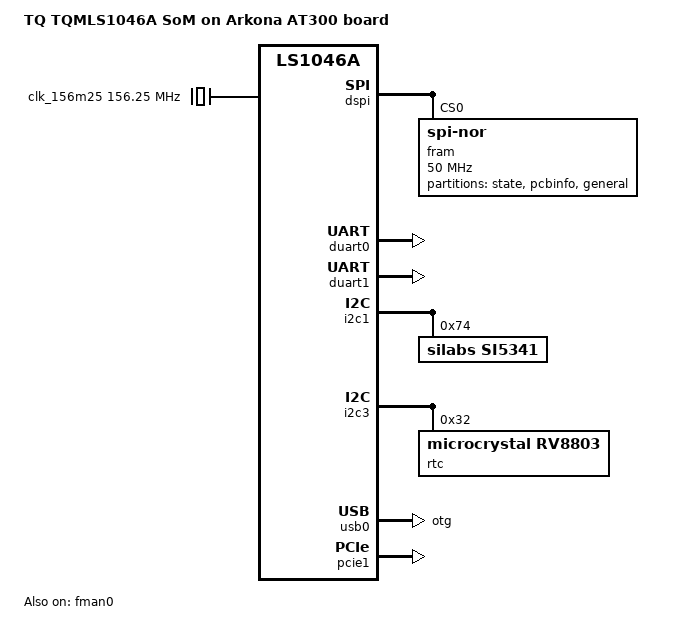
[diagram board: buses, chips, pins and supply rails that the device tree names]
// SPDX-License-Identifier: (GPL-2.0+ OR MIT)
/*
 * Device Tree Include file for TQMLS1046A SoM on MBLS10xxA from TQ
 *
 * Copyright 2018 TQ-Systems GmbH
 */

/dts-v1/;

#include <dt-bindings/input/input.h>
#include <dt-bindings/gpio/gpio.h>

#include <arm64/freescale/fsl-ls1046a-tqmls1046a.dtsi>
#include "fsl-ls1046a.dtsi"

/ {
	model = "TQ TQMLS1046A SoM on Arkona AT300 board";
	compatible = "arkona,at300", "tq,ls1046a-tqmls1046a", "fsl,ls1046a";

	barebox,deep-probe;

	aliases {
		serial0 = &duart0;
		serial1 = &duart1;
		mmc0 = &esdhc;
		qspiflash0 = &qflash0;
		qspiflash1 = &qflash1;
		state = &state;
	};

	chosen {
		stdout-path = "serial0:115200n8";

		environment-qspi {
			compatible = "barebox,environment";
			device-path = &environment_qspi;
			status = "disabled";
		};
	};

	clk_156m25: clk_156m25 {
		#clock-cells = <0>;
		compatible = "fixed-clock";
		clock-frequency = <156250000>;
	};

	state: state {
		magic = <0x52410a4b>;
		compatible = "barebox,state";
		backend-type = "raw";
		backend-storage-type = "direct";
		backend-stridesize = <0x80>;
		backend = <&state_part>;

		#address-cells = <1>;
		#size-cells = <1>;

		bootstate {
			#address-cells = <1>;
			#size-cells = <1>;

			system0 {
				#address-cells = <1>;
				#size-cells = <1>;

				remaining_attempts {
					reg = <0x0 0x4>;
					type = "uint32";
				};

				priority {
					reg = <0x4 0x4>;
					type = "uint32";
					default = <20>;
				};
			};

			system1 {
				#address-cells = <1>;
				#size-cells = <1>;

				remaining_attempts {
					reg = <0x10 0x4>;
					type = "uint32";
				};

				priority {
					reg = <0x14 0x4>;
					type = "uint32";
					default = <20>;
				};
			};

			last_chosen {
				reg = <0x20 0x04>;
				type = "uint32";
			};
		};

		fpga_prefix {
			reg = <0x30 0x30>;
			type = "string";
		};
	};
};

&dspi {
	status = "okay";
	fram@0 {
		compatible = "jedec,spi-nor";
		spi-max-frequency = <50000000>;
		reg = <0>;

		partitions {
			compatible = "fixed-partitions";
			#address-cells = <1>;
			#size-cells = <1>;

			state_part: partition@0 {
				label = "state";
				reg = <0x00000 0x00200>;
			};

			partition@200 {
				label = "pcbinfo";
				reg = <0x00200 0x00080>;
			};

			partition@280 {
				label = "general";
				reg = <0x00280 0x7fd80>;
			};
		};
	};
};

&duart0 {
	status = "okay";
};

&duart1 {
	status = "okay";
};

&gpio0 {
	gpio-line-names = "", "", "", "",
			  "", "", "", "",
			  "", "", "", "",
			  "", "", "", "",
			  "", "", "", "",
			  "", "", "", "",
			  "ps1_present", "ps2_present", "io_presentn", "io_pwr_goodn",
			  "module_slot_id2", "module_slot_id1", "module_slot_id0", "";
};

&gpio2 {
	gpio-line-names = "", "", "", "",
			  "", "", "", "",
			  "", "", "", "",
			  "", "", "", "",
			  "", "", "", "",
			  "", "", "", "",
			  "", "hsc_wpn", "", "usb_fifo_reset",
			  "", "", "", "";
};

&i2c1 {
	status = "okay";
	si5341: clock-generator@74 {
		compatible = "silabs,si5341";
		reg = <0x74>;
		#clock-cells = <2>;
		clocks = <&clk_156m25>;
		clock-names = "in0";
	};
};

&i2c3 {
	status = "okay";

	rtc@32 {
		compatible = "microcrystal,rv8803";
		reg = <0x32>;
	};
};

&usb0 {
	dr_mode = "otg";
};

&usb1 {
	status = "disabled";
};

#include <arm64/freescale/fsl-ls1046-post.dtsi>
#include <dt-bindings/net/ti-dp83867.h>

&fman0 {
	status = "okay";

	ethernet@e0000 { /* EMAC.1 */
		status = "disabled";
	};

	ethernet@e2000 { /* EMAC.2 */
		status = "disabled";
	};

	ethernet@e4000 { /* EMAC.3 */
		status = "disabled";
	};

	ethernet@e6000 { /* EMAC.4 */
		status = "disabled";
	};

	ethernet@e8000 { /* EMAC.5 */
		status = "disabled";
	};

	ethernet@ea000 { /* EMAC.6 */
		phy-connection-type = "sgmii";
		fixed-link {
			speed = <1000>;
			full-duplex;
		};
	};

	ethernet@f0000 { /* EMAC.9 */
		phy-connection-type = "xgmii";
		fixed-link {
			speed = <1000>;
			full-duplex;
		};
	};

	ethernet@f2000 { /* EMAC.10 */
		phy-connection-type = "xgmii";
		fixed-link {
			speed = <1000>;
			full-duplex;
		};
	};

	mdio@e1000 {
		status = "disabled";
	};

	mdio@e3000 {
		status = "disabled";
	};

	mdio@e5000 {
		status = "disabled";
	};

	mdio@e7000 {
		status = "disabled";
	};

	mdio@e9000 {
		status = "disabled";
	};

	mdio@eb000 {
		status = "disabled";
	};

	mdio@f1000 {
		status = "disabled";
	};

	mdio@f3000 {
		status = "disabled";
	};

	mdio@fc000 {
		status = "disabled";
	};

	mdio@fd000 {
		status = "disabled";
	};
};

&qflash0 {
	partitions {
		#address-cells = <1>;
		#size-cells = <1>;

		compatible = "fixed-partitions";

		partition@0 {
			label = "barebox";
			reg = <0x0 0x200000>;
		};

		environment_qspi: partition@200000 {
			label = "barebox-environment";
			reg = <0x200000 0x80000>;
		};

		partition@280000 {
			label = "data";
			reg = <0x280000 0x0>;
		};
	};
};

&qflash1 {
	partitions {
		#address-cells = <1>;
		#size-cells = <1>;

		compatible = "fixed-partitions";

		partition@0 {
			label = "barebox-alternate";
			reg = <0x0 0x200000>;
		};

		partition@200000 {
			label = "barebox-environment-alternate";
			reg = <0x200000 0x80000>;
		};

		partition@280000 {
			label = "data-alternate";
			reg = <0x280000 0x0>;
		};
	};
};

&soc {
	pcie1: pcie@3400000 {
		status = "okay";
	};
};
